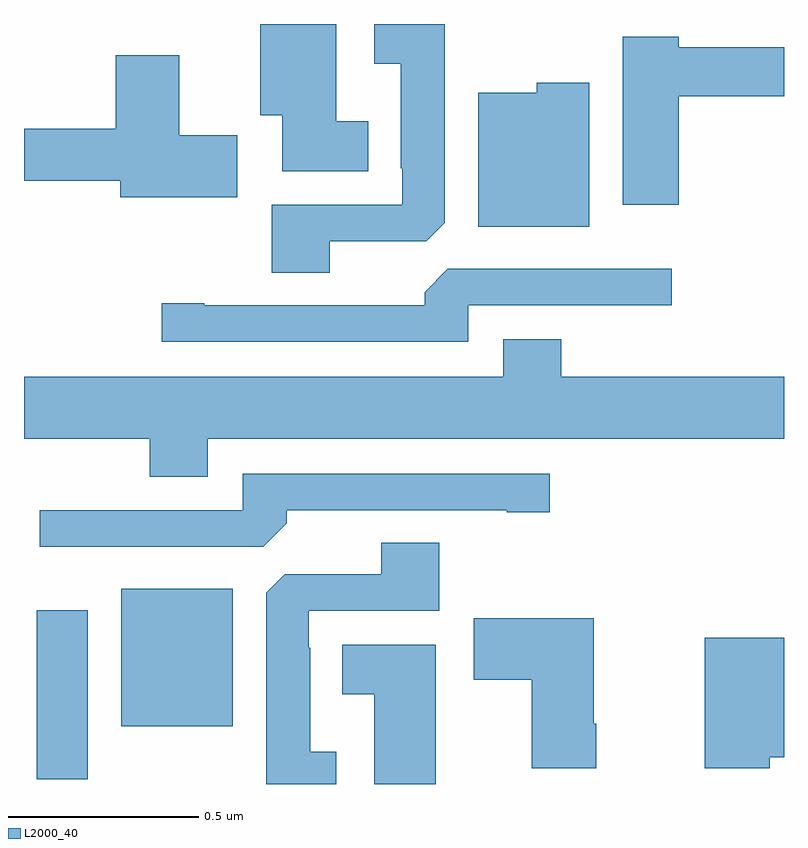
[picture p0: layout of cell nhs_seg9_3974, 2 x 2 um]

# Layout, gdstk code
import gdstk
lib = gdstk.Library(unit=1e-6, precision=1e-09)
def R(c, l, rs):  # rectangles x0, y0, x1, y1
    for r in rs: c.add(gdstk.rectangle(r[:2], r[2:], *l))
def P(c, l, *ps):  # polygons
    for p in ps: c.add(gdstk.Polygon(p, *l))
L2000_40 = (2000, 40)

nhs_seg9_3974 = lib.new_cell('nhs_seg9_3974')
R(nhs_seg9_3974, L2000_40, [(160.034,1207.513,160.168,1207.957), (160.256,1207.652,160.549,1208.014)])
P(nhs_seg9_3974, L2000_40, [(160.906,1209.244),(160.822,1209.244),(160.822,1209.5),(160.622,1209.5),(160.622,1209.26),(160.679,1209.26),(160.679,1209.113),(160.906,1209.113)],
  [(160.804,1208.928),(161.058,1208.928),(161.107,1208.977),(161.107,1209.5),(160.922,1209.5),(160.922,1209.395),(160.991,1209.395),(160.991,1209.121),(160.995,1209.121),(160.995,1209.024),(160.652,1209.024),(160.652,1208.845),(160.804,1208.845)],
  [(161.723,1209.31),(162,1209.31),(162,1209.439),(161.723,1209.439),(161.723,1209.466),(161.576,1209.466),(161.576,1209.024),(161.723,1209.024)],
  [(160.561,1209.207),(160.408,1209.207),(160.408,1209.418),(160.241,1209.418),(160.241,1209.224),(160,1209.224),(160,1209.088),(160.253,1209.088),(160.253,1209.044),(160.561,1209.044)],
  [(161.488,1209.346),(161.349,1209.346),(161.349,1209.319),(161.195,1209.319),(161.195,1208.966),(161.488,1208.966)],
  [(161.169,1208.76),(161.704,1208.76),(161.704,1208.856),(161.115,1208.856),(161.054,1208.794),(161.054,1208.76),(160.474,1208.76),(160.474,1208.765),(160.362,1208.765),(160.362,1208.664),(161.169,1208.664)],
  [(161.261,1208.671),(161.261,1208.572),(160,1208.572),(160,1208.408),(160.331,1208.408),(160.331,1208.309),(160.483,1208.309),(160.483,1208.408),(162,1208.408),(162,1208.572),(161.414,1208.572),(161.414,1208.671)],
  [(160.691,1208.186),(160.691,1208.22),(161.27,1208.22),(161.27,1208.215),(161.383,1208.215),(161.383,1208.316),(160.575,1208.316),(160.575,1208.22),(160.041,1208.22),(160.041,1208.124),(160.629,1208.124)],
  [(160.822,1207.585),(160.753,1207.585),(160.753,1207.859),(160.749,1207.859),(160.749,1207.956),(161.093,1207.956),(161.093,1208.135),(160.94,1208.135),(160.94,1208.052),(160.686,1208.052),(160.637,1208.003),(160.637,1207.5),(160.822,1207.5)],
  [(161.506,1207.659),(161.499,1207.659),(161.499,1207.936),(161.184,1207.936),(161.184,1207.774),(161.336,1207.774),(161.336,1207.541),(161.506,1207.541)],
  [(161.963,1207.571),(162,1207.571),(162,1207.885),(161.792,1207.885),(161.792,1207.541),(161.963,1207.541)],
  [(161.083,1207.867),(160.838,1207.867),(160.838,1207.736),(160.922,1207.736),(160.922,1207.5),(161.083,1207.5)])

lib.write_gds('nhs_seg9_3974.gds')
